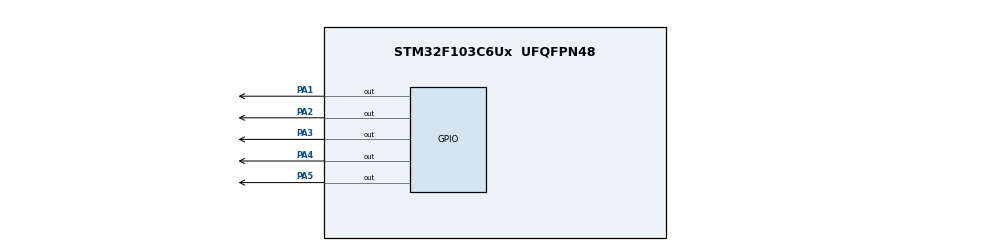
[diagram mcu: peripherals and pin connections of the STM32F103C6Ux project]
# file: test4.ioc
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Mcu.Family=STM32F1
Mcu.Name=STM32F103C6Ux
Mcu.Package=UFQFPN48
NVIC.PriorityGroup=NVIC_PRIORITYGROUP_4
NVIC.TIM2_IRQn=true\:0\:0\:false\:false\:true\:true\:true
PA1.Signal=GPIO_Output
PA2.Signal=GPIO_Output
PA3.Signal=GPIO_Output
PA4.Signal=GPIO_Output
PA5.Signal=GPIO_Output
ProjectManager.HeapSize=0x200
ProjectManager.StackSize=0x400
ProjectManager.TargetToolchain=STM32CubeIDE
RCC.APB1Freq_Value=8000000
RCC.APB2Freq_Value=8000000
TIM2.Period=9
TIM2.Prescaler=7999
VP_SYS_VS_ND.Mode=No_Debug
VP_TIM2_VS_ClockSourceINT.Mode=Internal
board=custom

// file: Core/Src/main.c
/* USER CODE BEGIN Header */
/**
  ******************************************************************************
  * @file           : main.c
  * @brief          : Main program body
  ******************************************************************************
  * @attention
  *
  * <h2><center>&copy; Copyright (c) 2025 STMicroelectronics.
  * All rights reserved.</center></h2>
  *
  * This software component is licensed by ST under BSD 3-Clause license,
  * the "License"; You may not use this file except in compliance with the
  * License. You may obtain a copy of the License at:
  *                        opensource.org/licenses/BSD-3-Clause
  *
  ******************************************************************************
  */
/* USER CODE END Header */
#include "main.h"
#include "scheduler.h"

TIM_HandleTypeDef htim2;

void SystemClock_Config(void);
static void MX_GPIO_Init(void);
static void MX_TIM2_Init(void);

/* USER CODE BEGIN 0 */
void Task_500ms() {
     HAL_GPIO_TogglePin(GPIOA, GPIO_PIN_1);

 }

 void Task_1000ms() {
	  HAL_GPIO_TogglePin(GPIOA, GPIO_PIN_2);
 }

 void Task_1500ms() {
	  HAL_GPIO_TogglePin(GPIOA, GPIO_PIN_3);
 }

 void Task_2000ms() {
	  HAL_GPIO_TogglePin(GPIOA, GPIO_PIN_4);
 }

 void Task_2500ms() {
	  HAL_GPIO_TogglePin(GPIOA, GPIO_PIN_5);
 }
/* USER CODE END 0 */

int main(void)
{

  /* MCU Configuration--------------------------------------------------------*/

  /* Reset of all peripherals, Initializes the Flash interface and the Systick. */
  HAL_Init();

  /* Configure the system clock */
  SystemClock_Config();

  /* Initialize all configured peripherals */
  MX_GPIO_Init();
  MX_TIM2_Init();
  HAL_TIM_Base_Start_IT(&htim2);
  /* USER CODE BEGIN 2 */

//  void Task_500ms() {
//      HAL_GPIO_TogglePin(GPIOA, GPIO_PIN_1);
//
//  }
//
//  void Task_1000ms() {
//	  HAL_GPIO_TogglePin(GPIOA, GPIO_PIN_2);
//  }
//
//  void Task_1500ms() {
//	  HAL_GPIO_TogglePin(GPIOA, GPIO_PIN_3);
//  }
//
//  void Task_2000ms() {
//	  HAL_GPIO_TogglePin(GPIOA, GPIO_PIN_4);
//  }
//
//  void Task_2500ms() {
//	  HAL_GPIO_TogglePin(GPIOA, GPIO_PIN_5);
//  }

  SCH_Add_Task(Task_500ms, 50, 50, 0);
  SCH_Add_Task(Task_1000ms, 100, 100, 0);
  SCH_Add_Task(Task_1500ms, 150, 150, 0);
  SCH_Add_Task(Task_2000ms, 200, 200, 0);
  SCH_Add_Task(Task_2500ms, 250, 250, 0);

  /* USER CODE END 2 */

  /* Infinite loop */
  /* USER CODE BEGIN WHILE */
  while (1)
  {

	  SCH_Dispatch_Tasks();

    /* USER CODE END WHILE */

  }
}

void SystemClock_Config(void)
{
  RCC_OscInitTypeDef RCC_OscInitStruct = {0};
  RCC_ClkInitTypeDef RCC_ClkInitStruct = {0};

  /** Initializes the RCC Oscillators according to the specified parameters
  * in the RCC_OscInitTypeDef structure.
  */
  RCC_OscInitStruct.OscillatorType = RCC_OSCILLATORTYPE_HSI;
  RCC_OscInitStruct.HSIState = RCC_HSI_ON;
  RCC_OscInitStruct.HSICalibrationValue = RCC_HSICALIBRATION_DEFAULT;
  RCC_OscInitStruct.PLL.PLLState = RCC_PLL_NONE;
  if (HAL_RCC_OscConfig(&RCC_OscInitStruct) != HAL_OK)
  {
    Error_Handler();
  }
  /** Initializes the CPU, AHB and APB buses clocks
  */
  RCC_ClkInitStruct.ClockType = RCC_CLOCKTYPE_HCLK|RCC_CLOCKTYPE_SYSCLK
                              |RCC_CLOCKTYPE_PCLK1|RCC_CLOCKTYPE_PCLK2;
  RCC_ClkInitStruct.SYSCLKSource = RCC_SYSCLKSOURCE_HSI;
  RCC_ClkInitStruct.AHBCLKDivider = RCC_SYSCLK_DIV1;
  RCC_ClkInitStruct.APB1CLKDivider = RCC_HCLK_DIV1;
  RCC_ClkInitStruct.APB2CLKDivider = RCC_HCLK_DIV1;

  if (HAL_RCC_ClockConfig(&RCC_ClkInitStruct, FLASH_LATENCY_0) != HAL_OK)
  {
    Error_Handler();
  }
}

static void MX_TIM2_Init(void)
{

  TIM_ClockConfigTypeDef sClockSourceConfig = {0};
  TIM_MasterConfigTypeDef sMasterConfig = {0};

  htim2.Instance = TIM2;
  htim2.Init.Prescaler = 7999;
  htim2.Init.CounterMode = TIM_COUNTERMODE_UP;
  htim2.Init.Period = 9;
  htim2.Init.ClockDivision = TIM_CLOCKDIVISION_DIV1;
  htim2.Init.AutoReloadPreload = TIM_AUTORELOAD_PRELOAD_DISABLE;
  if (HAL_TIM_Base_Init(&htim2) != HAL_OK)
  {
    Error_Handler();
  }
  sClockSourceConfig.ClockSource = TIM_CLOCKSOURCE_INTERNAL;
  if (HAL_TIM_ConfigClockSource(&htim2, &sClockSourceConfig) != HAL_OK)
  {
    Error_Handler();
  }
  sMasterConfig.MasterOutputTrigger = TIM_TRGO_RESET;
  sMasterConfig.MasterSlaveMode = TIM_MASTERSLAVEMODE_DISABLE;
  if (HAL_TIMEx_MasterConfigSynchronization(&htim2, &sMasterConfig) != HAL_OK)
  {
    Error_Handler();
  }

}

static void MX_GPIO_Init(void)
{
  GPIO_InitTypeDef GPIO_InitStruct = {0};

  /* GPIO Ports Clock Enable */
  __HAL_RCC_GPIOA_CLK_ENABLE();

  /*Configure GPIO pin Output Level */
  HAL_GPIO_WritePin(GPIOA, GPIO_PIN_1|GPIO_PIN_2|GPIO_PIN_3|GPIO_PIN_4
                          |GPIO_PIN_5, GPIO_PIN_RESET);

  /*Configure GPIO pins : PA1 PA2 PA3 PA4
                           PA5 */
  GPIO_InitStruct.Pin = GPIO_PIN_1|GPIO_PIN_2|GPIO_PIN_3|GPIO_PIN_4
                          |GPIO_PIN_5;
  GPIO_InitStruct.Mode = GPIO_MODE_OUTPUT_PP;
  GPIO_InitStruct.Pull = GPIO_NOPULL;
  GPIO_InitStruct.Speed = GPIO_SPEED_FREQ_LOW;
  HAL_GPIO_Init(GPIOA, &GPIO_InitStruct);

}

/* USER CODE BEGIN 4 */
void HAL_TIM_PeriodElapsedCallback(TIM_HandleTypeDef *htim)
{
	SCH_Update();
}
/* USER CODE END 4 */

void Error_Handler(void)
{
  __disable_irq();
  while (1)
  {
  }
}

/************************ (C) COPYRIGHT STMicroelectronics *****END OF FILE****/
